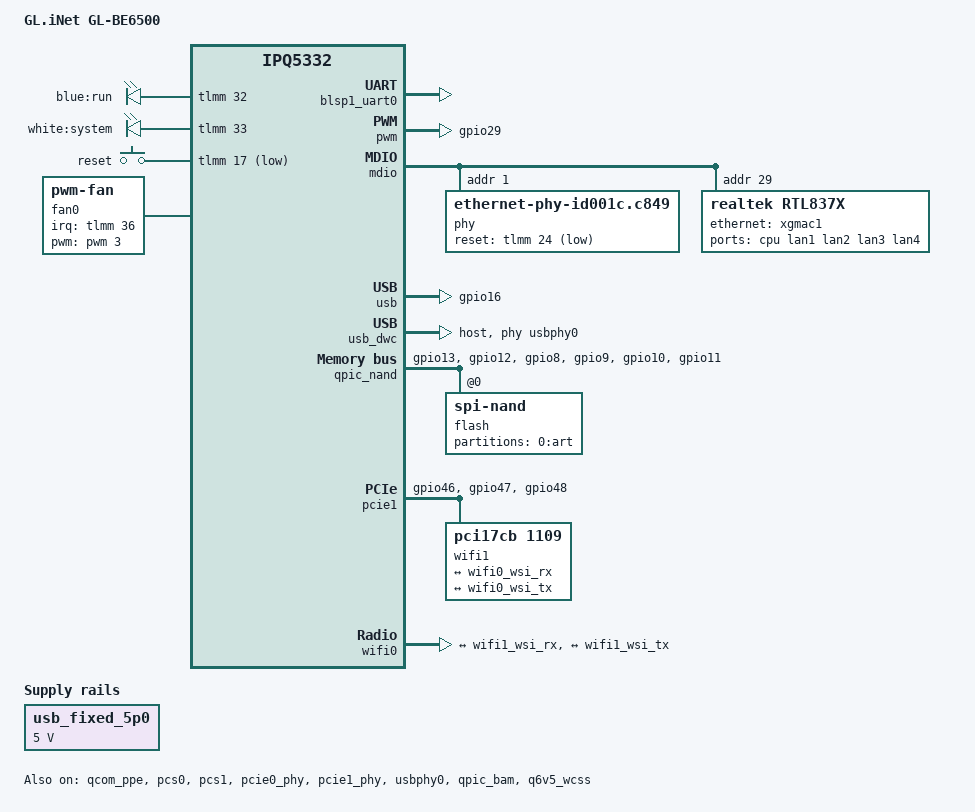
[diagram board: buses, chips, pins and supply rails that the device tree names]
// SPDX-License-Identifier: (GPL-2.0+ OR BSD-3-Clause)

/dts-v1/;

#include "ipq5332.dtsi"

#include <dt-bindings/gpio/gpio.h>
#include <dt-bindings/input/input.h>
#include <dt-bindings/leds/common.h>

/ {
	model = "GL.iNet GL-BE6500";
	compatible = "gl.inet,gl-be6500", "qcom,ipq5332";

    aliases {
		serial0 = &blsp1_uart0;
	};

    chosen {
		stdout-path = "serial0:115200n8";
		bootargs-append = " root=/dev/ubiblock0_1";
	};

	reserved-memory {
        tzapp: tzapp@49600000 {  /* TZAPPS */
			reg = <0x0 0x49600000 0x0 0x00600000>;
			no-map;
		};

		m3_dump: m3-dump@4d400000 {
			reg = <0x0 0x4d400000 0x0 0x100000>;
			no-map;
		};

		q6_caldb: q6-caldb@4d500000 {
			reg = <0x0 0x4d500000 0x0 0x500000>;
			no-map;
		};

		ramoops@4da00000 {
			compatible = "ramoops";
			reg = <0x0 0x4da00000 0x0 0x00100000>;
			record-size = <0x00080000>;
			console-size = <0x00080000>;
			no-map;
		};

		mlo_mem: mlo-global-mem@4db00000 {
			reg = <0x0 0x4db00000 0x0 0x01200000>;
			no-map;
		};

		qcn9274_host_ddr: qcn9274-host-ddr@4ed00000 {
			reg = <0x0 0x4ed00000 0x0 0x03200000>;
			no-map;
		};
	};

	leds {
		compatible = "gpio-leds";
		pinctrl-0 = <&leds_pins>;
		pinctrl-names = "default";

		led@32 {
			label = "blue:run";
			gpios = <&tlmm 32 GPIO_ACTIVE_HIGH>;
			default-state = "on";
		};

		led@33 {
			label = "white:system";
			gpios = <&tlmm 33 GPIO_ACTIVE_HIGH>;
			default-state = "off";
		};
	};

	keys {
		compatible = "gpio-keys";
		pinctrl-0 = <&button_pins>;
		pinctrl-names = "default";

		reset {
			label = "reset";
			linux,code = <KEY_RESTART>;
			gpios = <&tlmm 17 GPIO_ACTIVE_LOW>;
			linux,input-type = <1>;
		};
	};

	fan0: pwm-fan {
		compatible = "pwm-fan";
		pinctrl-0 = <&fan_pins>;
		pinctrl-names = "default";
		pwms = <&pwm 3 40000 0>;
		interrupt-parent = <&tlmm>;
		interrupts = <36 IRQ_TYPE_EDGE_RISING>;
		pulses-per-revolution = <2>;
		cooling-levels = <36 128 192 255>;
		#cooling-cells = <2>;
	};

	usb_fixed_5p0: regulator-usb-5v {
		compatible = "regulator-fixed";
		regulator-name = "usb-fixed-5v";
		regulator-min-microvolt = <5000000>;
		regulator-max-microvolt = <5000000>;
		regulator-boot-on;
		regulator-always-on;
	};

    thermal-zones {
        cpu-top-thermal {
            polling-delay = <1000>;

            trips {
                fan_trip_high: active-high {
                    temperature = <100000>;
                    hysteresis = <2000>;
                    type = "active";
                };

                fan_trip_med: active-med {
                    temperature = <75000>;
                    hysteresis = <2000>;
                    type = "active";
                };

                fan_trip_low: active-low {
                    temperature = <50000>;
                    hysteresis = <2000>;
                    type = "active";
                };
            };

            cooling-maps {
                fan-active-high {
                    cooling-device = <&fan0 3 3>;
                    trip = <&fan_trip_high>;
                };

                fan-active-med {
                    cooling-device = <&fan0 2 2>;
                    trip = <&fan_trip_med>;
                };

                fan-active-low {
                    cooling-device = <&fan0 1 1>;
                    trip = <&fan_trip_low>;
                };
            };
        };
    };
};

&blsp1_uart0 {
    status = "okay";

    pinctrl-0 = <&serial_0_pins>;
    pinctrl-names = "default";
};

&pwm {
    status = "okay";

    #pwm-cells = <2>;
    pinctrl-0 = <&pwm_pins>;
    pinctrl-names = "default";
    used-pwm-indices = <0>, <0>, <0>, <1>;
};

&tlmm {
    qspi_nand_pins: qspi-nand-pins {
        qspi-clock {
            pins = "gpio13";
            function = "qspi_clk";
            drive-strength = <8>;
            bias-disable;
        };

        qspi-cs {
            pins = "gpio12";
            function = "qspi_cs";
            drive-strength = <8>;
            bias-disable;
        };

        qspi-data {
            pins = "gpio8", "gpio9", "gpio10", "gpio11";
            function = "qspi_data";
            drive-strength = <8>;
            bias-disable;
        };
    };

    leds_pins: leds-pins {
        led-blue {
            pins = "gpio32";
            function = "gpio";
            drive-strength = <8>;
            bias-pull-down;
        };

        led-white {
            pins = "gpio33";
            function = "gpio";
            drive-strength = <8>;
            bias-pull-down;
        };
    };

    button_pins: button-pins {
        reset-button {
            pins = "gpio17";
            function = "gpio";
            drive-strength = <8>;
            bias-pull-up;
        };
    };

    pwm_pins: pwm-pins {
        pwm1 {
            pins = "gpio29";
            function = "pwm1";
            drive-strength = <8>;
        };
    };

    fan_pins: fan-pins {
        pwr {
            pins = "gpio34";
            function = "gpio";
            bias-pull-up;
            output-high;
        };
        speed {
            pins = "gpio36";
            function = "gpio";
            drive-strength = <8>;
            bias-pull-down;
        };
    };

    usb_pins: usb-pins {
        usb_pwr {
            pins = "gpio16";
            function = "gpio";
            bias-pull-up;
            output-high;
        };
    };

	pcie1_default: pcie1-default-state {
		clkreq-n-pins {
			pins = "gpio46";
			function = "pcie1_clk";
			drive-strength = <8>;
			bias-pull-up;
		};

		perst-n-pins {
			pins = "gpio47";
			function = "gpio";
			drive-strength = <8>;
			bias-pull-up;
			output-low;
		};

		wake-n-pins {
			pins = "gpio48";
			function = "pcie1_wake";
			drive-strength = <8>;
			bias-pull-up;
		};
	};
};

&mdio {
    status = "okay";
    mdio_clk_fixup; /* MDIO clock sequence fix up flag */

    phy: ethernet-phy@1 {
        compatible = "ethernet-phy-id001c.c849";
        reg = <1>;
        reset-gpios = <&tlmm 24 GPIO_ACTIVE_LOW>;
        reset-assert-us = <10000>;
        reset-deassert-us = <50000>;
    };

    rtl837x: rtl837x-dsa@29 {
        compatible = "realtek,rtl837x";
        #address-cells = <1>;
        #size-cells = <0>;
        reg = <29>;
        //realtek,reset-done-by-mdio;
        rtl837x,sds0mode = "10g-kr";
        gpio-controller;
        #gpio-cells = <2>;

        sds0-rx-swap; // optional
        sds0-tx-swap; // optional
        sds1-rx-swap; // optional
        sds1-tx-swap; // optional

        ports {
            #address-cells = <1>;
            #size-cells = <0>;

            port@3 {
                reg = <3>;
                label = "cpu";
                ethernet = <&xgmac1>;
                phy-mode = "10gbase-r";

                fixed-link {
                    speed = <10000>;
                    full-duplex;
                };
            };

            port@4 {
                reg = <4>;
                label = "lan1";
                phy-mode = "internal";
            };

            port@5 {
                reg = <5>;
                label = "lan2";
                phy-mode = "internal";
            };

            port@6 {
                reg = <6>;
                label = "lan3";
                phy-mode = "internal";
            };

            port@7 {
                reg = <7>;
                label = "lan4";
                phy-mode = "internal";
            };
        };
    };

};

&qcom_ppe {
	status = "okay";

	ethernet-ports {
		#address-cells = <1>;
		#size-cells = <0>;

		xgmac1: port@1 {
			reg = <1>;
			phy-mode = "10gbase-r";
			label = "lan";
			nvmem-cells = <&base_macaddr 1>;
			nvmem-cell-names = "mac-address";
			pcs-handle = <&pcs0_ch0>;
			phy-handle = <&rtl837x>;
			clocks = <&nsscc NSS_CC_PORT1_MAC_CLK>,
				 <&nsscc NSS_CC_PORT1_RX_CLK>,
				 <&nsscc NSS_CC_PORT1_TX_CLK>;
			clock-names = "mac",
				      "rx",
				      "tx";
			resets = <&nsscc NSS_CC_PORT1_MAC_CLK_ARES>,
				 <&nsscc NSS_CC_PORT1_RX_CLK_ARES>,
				 <&nsscc NSS_CC_PORT1_TX_CLK_ARES>;
			reset-names = "mac",
				      "rx",
				      "tx";

			fixed-link {
				speed = <10000>;
				full-duplex;
				pause;
			};
		};

		xgmac2: port@2 {
			reg = <2>;
			phy-mode = "usxgmii";
            managed = "in-band-status";
			label = "wan";
			nvmem-cells = <&base_macaddr 0>;
			nvmem-cell-names = "mac-address";
			pcs-handle = <&pcs1_ch0>;
			phy-handle = <&phy>;
			clocks = <&nsscc NSS_CC_PORT2_MAC_CLK>,
				 <&nsscc NSS_CC_PORT2_RX_CLK>,
				 <&nsscc NSS_CC_PORT2_TX_CLK>;
			clock-names = "mac",
				      "rx",
				      "tx";
			resets = <&nsscc NSS_CC_PORT2_MAC_CLK_ARES>,
				 <&nsscc NSS_CC_PORT2_RX_CLK_ARES>,
				 <&nsscc NSS_CC_PORT2_TX_CLK_ARES>;
			reset-names = "mac",
				      "rx",
				      "tx";
		};
	};
};

&pcs0 {
	status = "okay";
};

&pcs1 {
	status = "okay";
};

&pcie0_phy {
	status = "okay";

	compatible = "qcom,ipq5332-usb-uniphy";

	clocks = <&gcc GCC_USB0_PIPE_CLK>,
		 <&gcc GCC_USB0_PHY_CFG_AHB_CLK>,
		 <&gcc GCC_PCIE3X1_PHY_AHB_CLK>;
	clock-names = "pipe", "phy_cfg_ahb", "phy_ahb";

	resets = <&gcc GCC_USB0_PHY_BCR>;
	reset-names = "por_rst";

	#clock-cells = <0>;
	#phy-cells = <0>;
	clock-output-names = "usb0_pipe_clk_src";

	qcom,phy-usb-mux-sel = <&tcsr 0x10540>;
	vdd-supply = <&usb_fixed_5p0>;

	/delete-property/ num-lanes;
};

&pcie1_phy {
	status = "okay";
};

&usb {
	status = "okay";

	pinctrl-0 = <&usb_pins>;
	pinctrl-names = "default";

	clocks = <&gcc GCC_USB0_MASTER_CLK>,
		 <&gcc GCC_USB0_SLEEP_CLK>,
		 <&gcc GCC_USB0_MOCK_UTMI_CLK>,
		 <&gcc GCC_USB0_AUX_CLK>,
		 <&gcc GCC_USB0_LFPS_CLK>;
	clock-names = "core",
		      "sleep",
		      "mock_utmi",
		      "aux",
		      "lfps";

	/delete-property/ qcom,select-utmi-as-pipe-clk;
};

&usb_dwc {
	status = "okay";

	phys = <&usbphy0>, <&pcie0_phy>;
	phy-names = "usb2-phy", "usb3-phy";
	dr_mode = "host";
	maximum-speed = "super-speed";
};

&usbphy0 {
	status = "okay";

	vdd-supply = <&usb_fixed_5p0>;
};

&qpic_nand {
    status = "okay";

    pinctrl-0 = <&qspi_nand_pins>;
    pinctrl-names = "default";

    flash@0 {
		compatible = "spi-nand";
		reg = <0>;
		#address-cells = <1>;
		#size-cells = <1>;
		nand-ecc-engine = <&qpic_nand>;
		nand-ecc-strength = <8>;
		nand-ecc-step-size = <512>;

		partitions {
			compatible = "qcom,smem-part";

			partition-0-art {
				label = "0:art";
				read-only;

				nvmem-layout {
					compatible = "fixed-layout";
					#address-cells = <1>;
					#size-cells = <1>;

					base_macaddr: mac-address@a {
						compatible = "mac-base";
						reg = <0xa 0x6>;
						#nvmem-cell-cells = <1>;
					};
				};
			};
		};
    };
};


&pcie1 {
    status = "okay";

	pinctrl-0 = <&pcie1_default>;
	pinctrl-names = "default";

	perst-gpios = <&tlmm 47 GPIO_ACTIVE_LOW>;
	wake-gpios = <&tlmm 48 GPIO_ACTIVE_LOW>;

	pcie@0 {
		wifi1: pcie@0 {
			compatible = "pci17cb,1109";
			reg = <0x00010000  0 0 0 0>;
			nvmem-cells = <&base_macaddr 4>;
			nvmem-cell-names = "mac-address";
			memory-region = <&qcn9274_host_ddr>, <&mlo_mem>;
			memory-region-names = "host-ddr-mem", "mlo-global-mem";
			qcom,ath12k-fw-memory-mode = <1>;
			qcom,board-id = <0x15>;
			qcom,num-radios = <1>;

			ports {
				#address-cells = <1>;
				#size-cells = <0>;

				port@0 {
					reg = <0>;

					wifi1_wsi_tx: endpoint {
						remote-endpoint = <&wifi0_wsi_rx>;
					};
				};

				port@1 {
					reg = <1>;

					wifi1_wsi_rx: endpoint {
						remote-endpoint = <&wifi0_wsi_tx>;
					};
				};
			};
		};
	};
};

&qpic_bam {
    status = "okay";
};

/*
 * The bootstrap pins for the board select the XO clock frequency that
 * supports 48 MHZ or 96 MHZ. This setting automatically enables the
 * right dividers, to ensure the reference clock output from WiFi to
 * the CMN PLL is 48 MHZ.
 */
&ref_48mhz_clk {
	clock-div = <1>;
	clock-mult = <1>;
};

&sleep_clk {
	clock-frequency = <32000>;
};

/*
 * The frequency of xo_board is fixed to 24 MHZ, which is routed
 * from WiFi output clock 48 MHZ divided by 2.
 */
&xo_board {
	clock-div = <2>;
	clock-mult = <1>;
};

&xo_clk {
	clock-frequency = <48000000>;
};

&wifi0 {
	status = "okay";

	firmware-name = "ath12k/IPQ5332/hw1.0/q6_fw1.mdt", "ath12k/IPQ5332/hw1.0/iu_fw.mdt";
	nvmem-cells = <&base_macaddr 3>;
	nvmem-cell-names = "mac-address";
	memory-region = <&q6_region>, <&m3_dump>, <&q6_caldb>, <&mlo_mem>;
	memory-region-names = "q6-region", "m3-dump", "q6-caldb", "mlo-global-mem";
	qcom,bdf-address-offset = <0x0c00000>;
	qcom,board-id = <18>;
	qcom,legacy-userpd-bootinfo;
	qcom,rproc = <&q6v5_wcss>;
	qcom,wsi-controller;

	ports {
		#address-cells = <1>;
		#size-cells = <0>;

		port@0 {
			reg = <0>;

			wifi0_wsi_tx: endpoint {
				remote-endpoint = <&wifi1_wsi_rx>;
			};
		};

		port@1 {
			reg = <1>;

			wifi0_wsi_rx: endpoint {
				remote-endpoint = <&wifi1_wsi_tx>;
			};
		};
	};
};

&q6v5_wcss {
	status = "okay";

	firmware-name = "ath12k/IPQ5332/hw1.0/q6_fw0.mdt";
};
